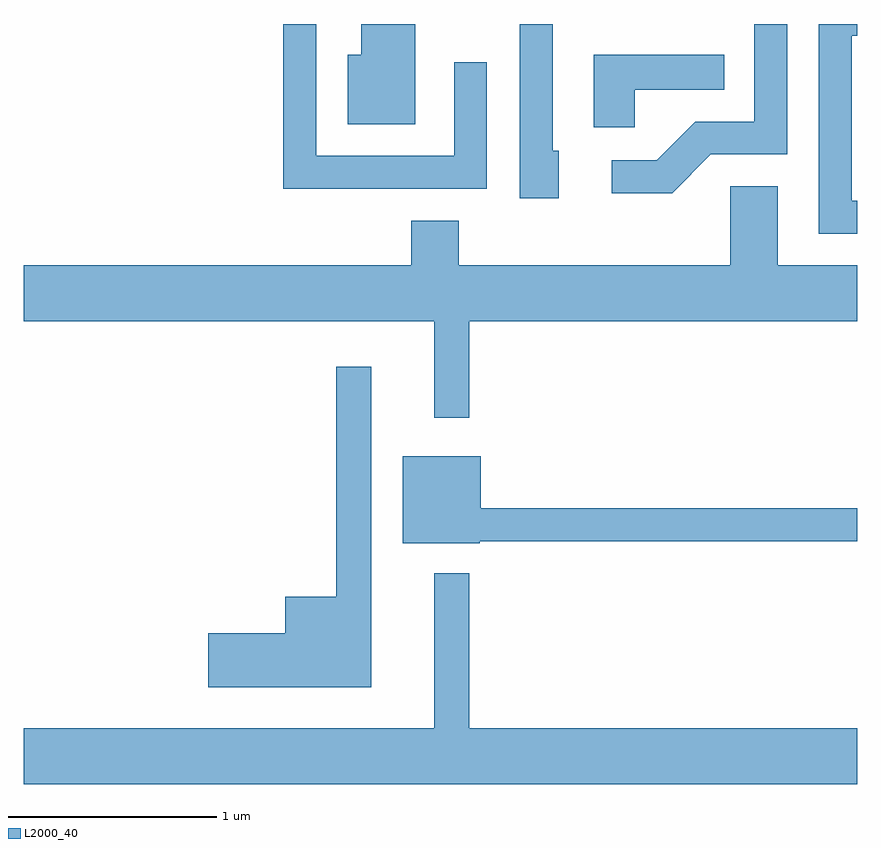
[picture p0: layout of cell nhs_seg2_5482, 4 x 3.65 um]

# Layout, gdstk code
import gdstk
lib = gdstk.Library(unit=1e-6, precision=1e-09)
def P(c, l, *ps):  # polygons
    for p in ps: c.add(gdstk.Polygon(p, *l))
L2000_40 = (2000, 40)

nhs_seg2_5482 = lib.new_cell('nhs_seg2_5482')
P(nhs_seg2_5482, L2000_40, [(349.834,989.618),(349.676,989.618),(349.676,989.169),(349.014,989.169),(349.014,989.802),(348.856,989.802),(348.856,989.011),(349.834,989.011)],
  [(350.907,989.176),(351.274,989.176),(351.274,989.802),(351.116,989.802),(351.116,989.334),(350.834,989.334),(350.649,989.149),(350.433,989.149),(350.433,988.991),(350.722,988.991)],
  [(349.489,989.802),(349.231,989.802),(349.231,989.654),(349.166,989.654),(349.166,989.321),(349.489,989.321)],
  [(350.179,989.194),(350.149,989.194),(350.149,989.802),(349.991,989.802),(349.991,988.966),(350.179,988.966)],
  [(351.611,988.954),(351.584,988.954),(351.584,989.746),(351.611,989.746),(351.611,989.802),(351.426,989.802),(351.426,988.796),(351.611,988.796)],
  [(350.544,989.486),(350.973,989.486),(350.973,989.654),(350.346,989.654),(350.346,989.306),(350.544,989.306)],
  [(351.611,988.644),(351.229,988.644),(351.229,989.024),(351.001,989.024),(351.001,988.644),(349.699,988.644),(349.699,988.859),(349.471,988.859),(349.471,988.644),(347.611,988.644),(347.611,988.376),(349.581,988.376),(349.581,987.913),(349.749,987.913),(349.749,988.376),(351.611,988.376)],
  [(349.279,988.158),(349.111,988.158),(349.111,987.054),(348.866,987.054),(348.866,986.879),(348.496,986.879),(348.496,986.621),(349.279,986.621)],
  [(349.8,987.321),(351.611,987.321),(351.611,987.479),(349.804,987.479),(349.804,987.729),(349.431,987.729),(349.431,987.311),(349.8,987.311)],
  [(351.611,986.424),(349.749,986.424),(349.749,987.168),(349.581,987.168),(349.581,986.424),(347.611,986.424),(347.611,986.156),(351.611,986.156)])

lib.write_gds('nhs_seg2_5482.gds')
